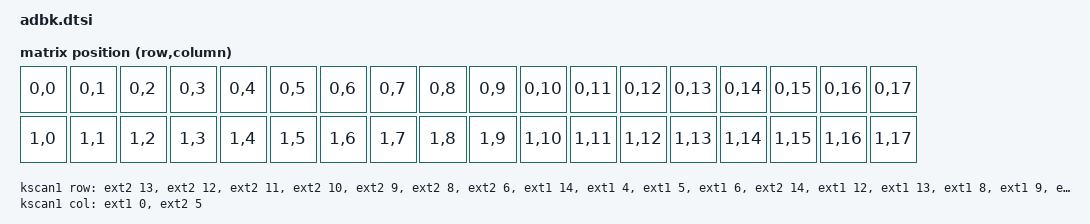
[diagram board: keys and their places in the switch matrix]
#include <dt-bindings/zmk/matrix_transform.h>

/ {
    chosen {
        zmk,kscan = &kscan0;
        zmk,matrix-transform = &default_transform;
    };

    kscan0: kscan_composite {
        compatible = "zmk,kscan-composite";

        matrix {
            kscan = <&kscan1>;
        };
    };

    kscan1: kscan_matrix {
        compatible = "zmk,kscan-gpio-matrix";
        diode-direction = "row2col";
        col-gpios
            = <&ext1 0 GPIO_ACTIVE_LOW>
            , <&ext2 5 GPIO_ACTIVE_LOW>
            ;
        row-gpios
            = <&ext2 13 (GPIO_ACTIVE_LOW | GPIO_PULL_UP)>
            , <&ext2 12 (GPIO_ACTIVE_LOW | GPIO_PULL_UP)>
            , <&ext2 11 (GPIO_ACTIVE_LOW | GPIO_PULL_UP)>
            , <&ext2 10 (GPIO_ACTIVE_LOW | GPIO_PULL_UP)>
            , <&ext2 9 (GPIO_ACTIVE_LOW | GPIO_PULL_UP)>
            , <&ext2 8 (GPIO_ACTIVE_LOW | GPIO_PULL_UP)>
            , <&ext2 6 (GPIO_ACTIVE_LOW | GPIO_PULL_UP)>
            , <&ext1 14 (GPIO_ACTIVE_LOW | GPIO_PULL_UP)>
            , <&ext1 4 (GPIO_ACTIVE_LOW | GPIO_PULL_UP)>
            , <&ext1 5 (GPIO_ACTIVE_LOW | GPIO_PULL_UP)>
            , <&ext1 6 (GPIO_ACTIVE_LOW | GPIO_PULL_UP)>
            , <&ext2 14 (GPIO_ACTIVE_LOW | GPIO_PULL_UP)>
            , <&ext1 12 (GPIO_ACTIVE_LOW | GPIO_PULL_UP)>
            , <&ext1 13 (GPIO_ACTIVE_LOW | GPIO_PULL_UP)>
            , <&ext1 8 (GPIO_ACTIVE_LOW | GPIO_PULL_UP)>
            , <&ext1 9 (GPIO_ACTIVE_LOW | GPIO_PULL_UP)>
            , <&ext1 10 (GPIO_ACTIVE_LOW | GPIO_PULL_UP)>
            , <&ext1 11 (GPIO_ACTIVE_LOW | GPIO_PULL_UP)>
            ;

    };

    default_transform: matrix_transform {
        compatible = "zmk,matrix-transform";
        rows = <2>;
        columns = <1>;

        map = <
            RC(0,0)     RC(0,1)     RC(0,2)     RC(0,3)     RC(0,4)     RC(0,5)     RC(0,6)     RC(0,7)     RC(0,8)     RC(0,9)     RC(0,10)     RC(0,11)     RC(0,12)     RC(0,13)     RC(0,14)    RC(0,15)    RC(0,16)    RC(0,17)
            RC(1,0)     RC(1,1)     RC(1,2)     RC(1,3)     RC(1,4)     RC(1,5)     RC(1,6)     RC(1,7)     RC(1,8)     RC(1,9)     RC(1,10)     RC(1,11)     RC(1,12)     RC(1,13)     RC(1,14)    RC(1,15)    RC(1,16)    RC(1,17)
        >;
    };

};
